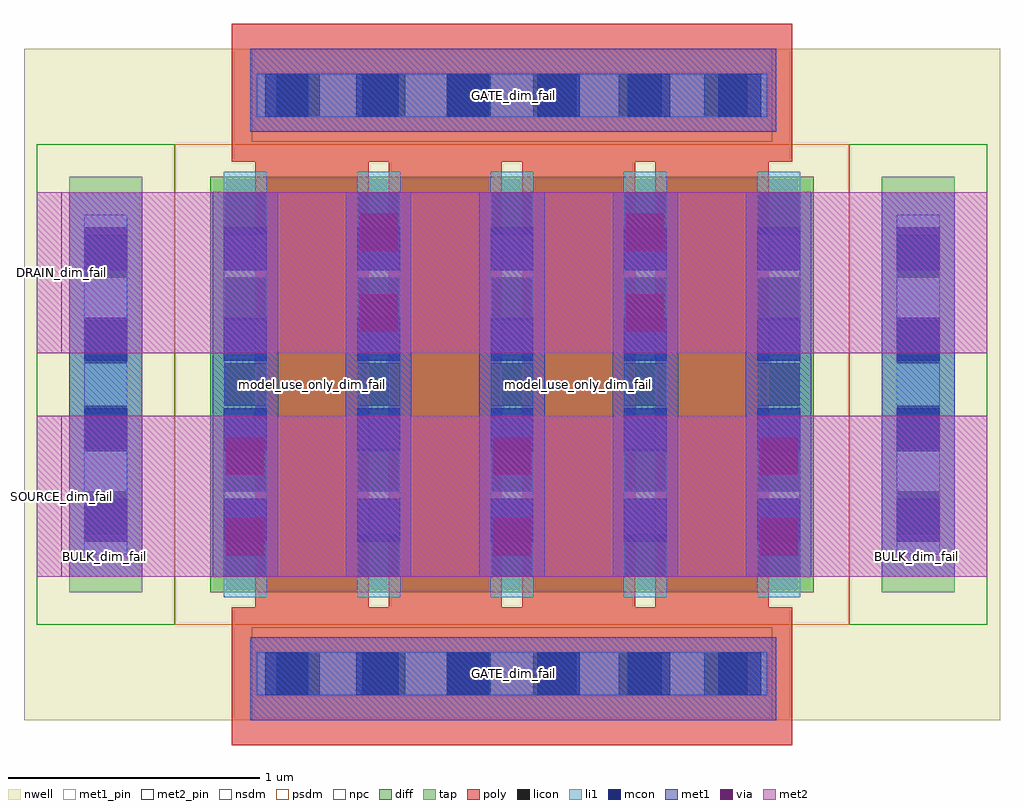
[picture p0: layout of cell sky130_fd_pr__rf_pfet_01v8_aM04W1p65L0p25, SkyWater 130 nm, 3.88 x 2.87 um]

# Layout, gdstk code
import gdstk
lib = gdstk.Library(unit=1e-6, precision=1e-09)
def R(c, l, rs):  # rectangles x0, y0, x1, y1
    for r in rs: c.add(gdstk.rectangle(r[:2], r[2:], *l))
def A(c, l, x, y, w, h, nx, ny, dx, dy):  # array of equal rectangles
    R(c, l, [(x+i*dx, y+j*dy, x+i*dx+w, y+j*dy+h) for i in range(nx) for j in range(ny)])
def P(c, l, *ps):  # polygons
    for p in ps: c.add(gdstk.Polygon(p, *l))
nwell = (64, 20)
diff = (65, 20)
tap = (65, 44)
poly = (66, 20)
licon = (66, 44)
li1 = (67, 20)
mcon = (67, 44)
met1_pin = (68, 16)
met1 = (68, 20)
via = (68, 44)
met2_pin = (69, 16)
met2 = (69, 20)
nsdm = (93, 44)
psdm = (94, 20)
npc = (95, 20)

sky130_fd_pr__rf_pfet_01 = lib.new_cell('sky130_fd_pr__rf_pfet_01v8_aM04W1p65L0p25')
R(sky130_fd_pr__rf_pfet_01, nwell, [(0,0,3.88,2.67)])
R(sky130_fd_pr__rf_pfet_01, diff, [(0.74,0.51,3.14,2.16)])
R(sky130_fd_pr__rf_pfet_01, tap, [(0.18,0.51,0.47,2.16), (3.41,0.51,3.7,2.16)])
P(sky130_fd_pr__rf_pfet_01, poly, [(0.825,-0.1),(0.825,0.45),(0.92,0.45),(0.92,2.22),(1.37,2.22),(1.37,0.45),(1.45,0.45),(1.45,2.22),(1.9,2.22),(1.9,0.45),(1.98,0.45),(1.98,2.22),(2.43,2.22),(2.43,0.45),(2.51,0.45),(2.51,2.22),(0.825,2.22),(0.825,2.77),(3.055,2.77),(3.055,2.22),(2.96,2.22),(2.96,0.45),(3.055,0.45),(3.055,-0.1)])
A(sky130_fd_pr__rf_pfet_01, licon, 1.005, 0.1, 0.17, 0.17, 6, 2, 0.34, 2.3)
A(sky130_fd_pr__rf_pfet_01, licon, 0.795, 0.57, 0.17, 0.17, 3, 1, 0.53, 0)
A(sky130_fd_pr__rf_pfet_01, licon, 1.855, 0.57, 0.17, 0.17, 3, 1, 0.53, 0)
A(sky130_fd_pr__rf_pfet_01, licon, 0.24, 0.74, 0.17, 0.17, 1, 4, 0, 0.34)
A(sky130_fd_pr__rf_pfet_01, licon, 3.47, 0.74, 0.17, 0.17, 1, 4, 0, 0.34)
A(sky130_fd_pr__rf_pfet_01, licon, 0.795, 0.91, 0.17, 0.17, 5, 4, 0.53, 0.34)
R(sky130_fd_pr__rf_pfet_01, licon, [(0.795,0.57,0.965,0.74), (2.915,0.57,3.085,0.74)])
A(sky130_fd_pr__rf_pfet_01, li1, 0.795, 0.49, 0.17, 1.69, 5, 1, 0.53, 0)
R(sky130_fd_pr__rf_pfet_01, li1, [(0.925,0.1,2.955,0.27), (0.96,0.1,2.93,0.27), (0.24,0.66,0.41,2.01), (3.47,0.66,3.64,2.01), (0.925,2.4,2.955,2.57), (0.96,2.4,2.93,2.57)])
A(sky130_fd_pr__rf_pfet_01, mcon, 0.96, 0.1, 0.17, 0.17, 6, 2, 0.36, 2.3)
A(sky130_fd_pr__rf_pfet_01, mcon, 0.24, 0.71, 0.17, 0.17, 1, 4, 0, 0.36)
A(sky130_fd_pr__rf_pfet_01, mcon, 0.795, 0.71, 0.17, 0.17, 5, 4, 0.53, 0.36)
A(sky130_fd_pr__rf_pfet_01, mcon, 3.47, 0.71, 0.17, 0.17, 1, 4, 0, 0.36)
R(sky130_fd_pr__rf_pfet_01, met1_pin, [(0.9,0,2.99,0.33), (0.18,0.57,0.47,0.65), (3.41,0.57,3.7,0.65), (0.9,2.34,2.99,2.67)])
A(sky130_fd_pr__rf_pfet_01, met1, 0.75, 0.57, 0.26, 1.53, 5, 1, 0.53, 0)
R(sky130_fd_pr__rf_pfet_01, met1, [(0.9,0,2.99,0.33), (0.18,0.57,0.47,2.1), (3.41,0.57,3.7,2.1), (0.9,2.34,2.99,2.67)])
A(sky130_fd_pr__rf_pfet_01, via, 0.805, 0.655, 0.15, 0.15, 3, 2, 1.06, 0.32)
R(sky130_fd_pr__rf_pfet_01, via, [(1.335,1.545,1.485,1.695), (2.395,1.545,2.545,1.695), (1.335,1.865,1.485,2.015), (2.395,1.865,2.545,2.015)])
R(sky130_fd_pr__rf_pfet_01, met2_pin, [(0.05,0.57,0.15,1.21), (0.05,1.46,0.15,2.1)])
R(sky130_fd_pr__rf_pfet_01, met2, [(0.05,0.57,3.83,1.21), (0.05,1.46,3.83,2.1)])
R(sky130_fd_pr__rf_pfet_01, nsdm, [(0.05,0.38,0.6,2.29), (3.28,0.38,3.83,2.29)])
R(sky130_fd_pr__rf_pfet_01, psdm, [(0.6,0.38,3.28,2.29)])
R(sky130_fd_pr__rf_pfet_01, npc, [(0.905,0,2.975,0.37), (0.905,2.3,2.975,2.67)])
sky130_fd_pr__rf_pfet_01.add(gdstk.Label('model_use_only_dim_fail', (1.145,1.335), layer=66, texttype=83))
sky130_fd_pr__rf_pfet_01.add(gdstk.Label('model_use_only_dim_fail', (1.675,1.335), layer=66, texttype=83))
sky130_fd_pr__rf_pfet_01.add(gdstk.Label('model_use_only_dim_fail', (2.205,1.335), layer=66, texttype=83))
sky130_fd_pr__rf_pfet_01.add(gdstk.Label('model_use_only_dim_fail', (2.735,1.335), layer=66, texttype=83))
sky130_fd_pr__rf_pfet_01.add(gdstk.Label('DRAIN_dim_fail', (0.15,1.78), layer=69, texttype=5))
sky130_fd_pr__rf_pfet_01.add(gdstk.Label('SOURCE_dim_fail', (0.15,0.89), layer=69, texttype=5))
sky130_fd_pr__rf_pfet_01.add(gdstk.Label('BULK_dim_fail', (0.32,0.65), layer=68, texttype=5))
sky130_fd_pr__rf_pfet_01.add(gdstk.Label('GATE_dim_fail', (1.945,2.485), layer=68, texttype=5))
sky130_fd_pr__rf_pfet_01.add(gdstk.Label('BULK_dim_fail', (3.55,0.65), layer=68, texttype=5))
sky130_fd_pr__rf_pfet_01.add(gdstk.Label('GATE_dim_fail', (1.945,0.185), layer=68, texttype=5))

lib.write_gds('sky130_fd_pr__rf_pfet_01v8_aM04W1p65L0p25.gds')
